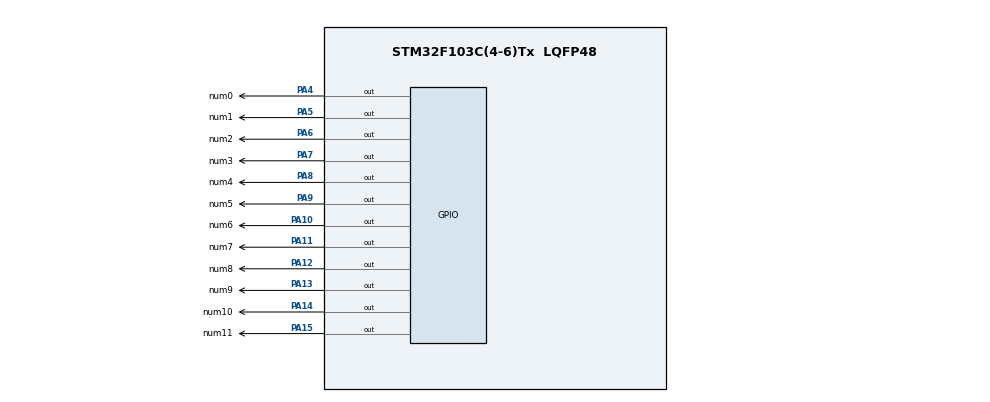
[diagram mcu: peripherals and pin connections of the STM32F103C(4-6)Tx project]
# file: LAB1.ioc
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Mcu.Family=STM32F1
Mcu.Name=STM32F103C(4-6)Tx
Mcu.Package=LQFP48
NVIC.PriorityGroup=NVIC_PRIORITYGROUP_4
PA10.GPIO_Label=num6
PA10.Signal=GPIO_Output
PA11.GPIO_Label=num7
PA11.Signal=GPIO_Output
PA12.GPIO_Label=num8
PA12.Signal=GPIO_Output
PA13.GPIO_Label=num9
PA13.Signal=GPIO_Output
PA14.GPIO_Label=num10
PA14.Signal=GPIO_Output
PA15.GPIO_Label=num11
PA15.Signal=GPIO_Output
PA4.GPIO_Label=num0
PA4.Signal=GPIO_Output
PA5.GPIO_Label=num1
PA5.Signal=GPIO_Output
PA6.GPIO_Label=num2
PA6.Signal=GPIO_Output
PA7.GPIO_Label=num3
PA7.Signal=GPIO_Output
PA8.GPIO_Label=num4
PA8.Signal=GPIO_Output
PA9.GPIO_Label=num5
PA9.Signal=GPIO_Output
ProjectManager.HeapSize=0x200
ProjectManager.StackSize=0x400
ProjectManager.TargetToolchain=STM32CubeIDE
RCC.APB1Freq_Value=8000000
RCC.APB2Freq_Value=8000000
VP_SYS_VS_ND.Mode=No_Debug
board=custom

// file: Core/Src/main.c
/* USER CODE BEGIN Header */
/**
  ******************************************************************************
  * @file           : main.c
  * @brief          : Main program body
  ******************************************************************************
  * @attention
  *
  * <h2><center>&copy; Copyright (c) 2024 STMicroelectronics.
  * All rights reserved.</center></h2>
  *
  * This software component is licensed by ST under BSD 3-Clause license,
  * the "License"; You may not use this file except in compliance with the
  * License. You may obtain a copy of the License at:
  *                        opensource.org/licenses/BSD-3-Clause
  *
  ******************************************************************************
  */
/* USER CODE END Header */
#include "main.h"

void SystemClock_Config(void);
static void MX_GPIO_Init(void);

uint16_t Pin_Number[12]= { num0_Pin, num1_Pin,num2_Pin, num3_Pin, num4_Pin, num5_Pin,num6_Pin, num7_Pin,
		 num8_Pin, num9_Pin,num10_Pin, num11_Pin};

void test(int n){
	HAL_GPIO_WritePin(GPIOA, num0_Pin|num1_Pin|num2_Pin|num3_Pin|num4_Pin| num5_Pin|num6_Pin| num7_Pin|
			 num8_Pin| num9_Pin|num10_Pin| num11_Pin, RESET);
	HAL_GPIO_WritePin(GPIOA, Pin_Number[n] , SET);
}

void clearAllClock(){
	HAL_GPIO_WritePin(GPIOA, num0_Pin|num1_Pin|num2_Pin|num3_Pin|num4_Pin| num5_Pin|num6_Pin| num7_Pin|
			 num8_Pin| num9_Pin|num10_Pin| num11_Pin , RESET);
}

void setNumberOnClock(int num){
	HAL_GPIO_WritePin(GPIOA, Pin_Number[num], SET);
}

void clearNumberOnClock(int num){
	HAL_GPIO_WritePin(GPIOA, Pin_Number[num], RESET);
}

int main(void)
{

  /* MCU Configuration--------------------------------------------------------*/

  /* Reset of all peripherals, Initializes the Flash interface and the Systick. */
  HAL_Init();

  /* Configure the system clock */
  SystemClock_Config();

  /* Initialize all configured peripherals */
  MX_GPIO_Init();

  /* Infinite loop */
  /* USER CODE BEGIN WHILE */
  int h = 0, min = 0, sec = 0;
  while (1)
  {
	  if(sec == 60){
	  		  sec = 0;
	  		  min++;
	  	  }
	  	  if(min == 60){
	  		  sec = 0;
	  		  min = 0;
	  		  h++;
	  	  }
	  	  if(h==24){
	  		  h = 0;
	  	  }
	  	  clearAllClock();
	  	  setNumberOnClock(h/2);
	  	  setNumberOnClock(min/5);
	  	  setNumberOnClock(sec/5);
	  	  sec++;
	  	  HAL_Delay(100);
    /* USER CODE END WHILE */

  }
}

void SystemClock_Config(void)
{
  RCC_OscInitTypeDef RCC_OscInitStruct = {0};
  RCC_ClkInitTypeDef RCC_ClkInitStruct = {0};

  /** Initializes the RCC Oscillators according to the specified parameters
  * in the RCC_OscInitTypeDef structure.
  */
  RCC_OscInitStruct.OscillatorType = RCC_OSCILLATORTYPE_HSI;
  RCC_OscInitStruct.HSIState = RCC_HSI_ON;
  RCC_OscInitStruct.HSICalibrationValue = RCC_HSICALIBRATION_DEFAULT;
  RCC_OscInitStruct.PLL.PLLState = RCC_PLL_NONE;
  if (HAL_RCC_OscConfig(&RCC_OscInitStruct) != HAL_OK)
  {
    Error_Handler();
  }
  /** Initializes the CPU, AHB and APB buses clocks
  */
  RCC_ClkInitStruct.ClockType = RCC_CLOCKTYPE_HCLK|RCC_CLOCKTYPE_SYSCLK
                              |RCC_CLOCKTYPE_PCLK1|RCC_CLOCKTYPE_PCLK2;
  RCC_ClkInitStruct.SYSCLKSource = RCC_SYSCLKSOURCE_HSI;
  RCC_ClkInitStruct.AHBCLKDivider = RCC_SYSCLK_DIV1;
  RCC_ClkInitStruct.APB1CLKDivider = RCC_HCLK_DIV1;
  RCC_ClkInitStruct.APB2CLKDivider = RCC_HCLK_DIV1;

  if (HAL_RCC_ClockConfig(&RCC_ClkInitStruct, FLASH_LATENCY_0) != HAL_OK)
  {
    Error_Handler();
  }
}

static void MX_GPIO_Init(void)
{
  GPIO_InitTypeDef GPIO_InitStruct = {0};

  /* GPIO Ports Clock Enable */
  __HAL_RCC_GPIOA_CLK_ENABLE();

  /*Configure GPIO pin Output Level */
  HAL_GPIO_WritePin(GPIOA, num0_Pin|num1_Pin|num2_Pin|num3_Pin
                          |num4_Pin|num5_Pin|num6_Pin|num7_Pin
                          |num8_Pin|num9_Pin|num10_Pin|num11_Pin, GPIO_PIN_RESET);

  /*Configure GPIO pins : num0_Pin num1_Pin num2_Pin num3_Pin
                           num4_Pin num5_Pin num6_Pin num7_Pin
                           num8_Pin num9_Pin num10_Pin num11_Pin */
  GPIO_InitStruct.Pin = num0_Pin|num1_Pin|num2_Pin|num3_Pin
                          |num4_Pin|num5_Pin|num6_Pin|num7_Pin
                          |num8_Pin|num9_Pin|num10_Pin|num11_Pin;
  GPIO_InitStruct.Mode = GPIO_MODE_OUTPUT_PP;
  GPIO_InitStruct.Pull = GPIO_NOPULL;
  GPIO_InitStruct.Speed = GPIO_SPEED_FREQ_LOW;
  HAL_GPIO_Init(GPIOA, &GPIO_InitStruct);

}

void Error_Handler(void)
{
  __disable_irq();
  while (1)
  {
  }
}

/************************ (C) COPYRIGHT STMicroelectronics *****END OF FILE****/
